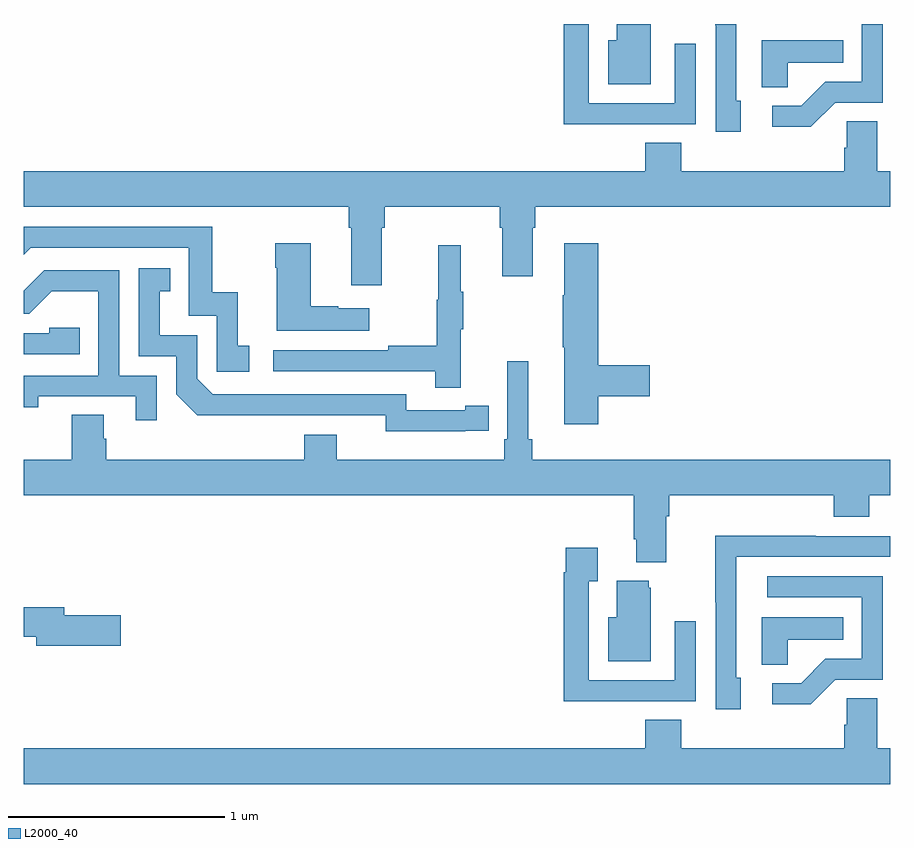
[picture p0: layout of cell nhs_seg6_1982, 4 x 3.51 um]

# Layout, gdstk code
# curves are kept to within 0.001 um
import gdstk
lib = gdstk.Library(unit=1e-6, precision=1e-09)
def P(c, l, *ps):  # polygons
    for p in ps: c.add(gdstk.Polygon(p, *l))
L2000_40 = (2000, 40)

nhs_seg6_1982 = lib.new_cell('nhs_seg6_1982')
P(nhs_seg6_1982, L2000_40, [(231.895,961.5),(231.737,961.5),(231.737,961.426),(231.698,961.426),(231.698,961.223),(231.895,961.223)],
  [(231.785,961.038),(232.101,961.038),(232.101,961.408),(232.005,961.408),(232.005,961.134),(231.609,961.134),(231.609,961.5),(231.493,961.5),(231.493,961.037),(231.785,961.037)],
  [(232.309,961.146),(232.29,961.146),(232.29,961.5),(232.192,961.5),(232.192,961.495),(232.194,961.495),(232.194,961.002),(232.309,961.002)],
  [(232.746,961.137),(232.965,961.137),(232.965,961.5),(232.869,961.5),(232.869,961.233),(232.7,961.233),(232.589,961.122),(232.455,961.122),(232.455,961.025),(232.633,961.025)],
  [(232.527,961.322),(232.784,961.322),(232.784,961.426),(232.406,961.426),(232.406,961.207),(232.527,961.207)],
  [(230.653,960.56),(230.666,960.56),(230.666,960.656),(231.197,960.656),(231.197,960.56),(231.209,960.56),(231.209,960.336),(231.349,960.336),(231.349,960.56),(231.362,960.56),(231.362,960.656),(233,960.656),(233,960.82),(232.939,960.82),(232.939,961.052),(232.8,961.052),(232.8,960.929),(232.787,960.929),(232.787,960.82),(232.034,960.82),(232.034,960.953),(231.869,960.953),(231.869,960.82),(229,960.82),(229,960.656),(230.501,960.656),(230.501,960.56),(230.513,960.56),(230.513,960.294),(230.653,960.294)],
  [(230.041,960.015),(229.988,960.015),(229.988,960.262),(229.87,960.262),(229.87,960.564),(229,960.564),(229,960.436),(229.032,960.468),(229.761,960.468),(229.761,960.153),(229.89,960.153),(229.89,959.895),(230.041,959.895)],
  [(230.596,960.187),(230.453,960.187),(230.453,960.197),(230.326,960.197),(230.326,960.487),(230.161,960.487),(230.161,960.374),(230.168,960.374),(230.168,960.083),(230.596,960.083)],
  [(231.653,959.782),(231.889,959.782),(231.889,959.924),(231.653,959.924),(231.653,960.487),(231.494,960.487),(231.494,960.248),(231.487,960.248),(231.487,960.007),(231.494,960.007),(231.494,959.652),(231.653,959.652)],
  [(231.017,960.091),(231.028,960.091),(231.028,960.265),(231.017,960.265),(231.017,960.478),(230.914,960.478),(230.914,960.228),(230.907,960.228),(230.907,960.014),(230.683,960.014),(230.683,959.994),(230.151,959.994),(230.151,959.898),(230.899,959.898),(230.899,959.82),(231.017,959.82)],
  [(231.038,959.622),(231.146,959.622),(231.146,959.738),(231.038,959.738),(231.038,959.718),(230.766,959.718),(230.766,959.79),(229.872,959.79),(229.8,959.862),(229.8,960.063),(229.627,960.063),(229.627,960.267),(229.676,960.267),(229.676,960.373),(229.53,960.373),(229.53,959.967),(229.704,959.967),(229.704,959.79),(229.802,959.693),(230.67,959.694),(230.67,959.621)],
  [(229.614,959.877),(229.44,959.877),(229.44,960.363),(229.094,960.363),(229,960.269),(229,960.162),(229.026,960.162),(229.13,960.266),(229.344,960.266),(229.344,959.877),(229,959.877),(229,959.73),(229.066,959.73),(229.066,959.781),(229.517,959.781),(229.517,959.67),(229.614,959.67)],
  [(229.259,960.099),(229.119,960.099),(229.119,960.072),(229,960.072),(229,959.976),(229.259,959.976)],
  [(231.967,959.228),(231.98,959.228),(231.98,959.324),(232.739,959.324),(232.739,959.225),(232.904,959.225),(232.904,959.324),(233,959.324),(233,959.488),(231.347,959.488),(231.347,959.584),(231.328,959.584),(231.328,959.944),(231.231,959.944),(231.231,959.584),(231.218,959.584),(231.218,959.488),(230.446,959.488),(230.446,959.605),(230.294,959.605),(230.294,959.488),(229.382,959.488),(229.382,959.586),(229.369,959.586),(229.369,959.696),(229.222,959.696),(229.222,959.488),(229,959.488),(229,959.324),(231.815,959.324),(231.815,959.122),(231.827,959.122),(231.827,959.015),(231.967,959.015)],
  [(232.309,958.482),(232.29,958.482),(232.29,959.04),(233,959.04),(233,959.136),(232.655,959.136),(232.655,959.138),(232.192,959.138),(232.192,958.831),(232.194,958.831),(232.194,958.338),(232.309,958.338)],
  [(231.785,958.374),(232.101,958.374),(232.101,958.744),(232.005,958.744),(232.005,958.47),(231.609,958.47),(231.609,958.927),(231.649,958.927),(231.649,959.083),(231.501,959.083),(231.501,958.97),(231.493,958.97),(231.493,958.373),(231.785,958.373)],
  [(232.746,958.473),(232.965,958.473),(232.965,958.95),(232.431,958.95),(232.431,958.854),(232.869,958.854),(232.869,958.569),(232.7,958.569),(232.589,958.458),(232.455,958.458),(232.455,958.361),(232.633,958.361)],
  [(231.895,958.899),(231.884,958.899),(231.884,958.93),(231.737,958.93),(231.737,958.762),(231.698,958.762),(231.698,958.559),(231.895,958.559)],
  [(229.447,958.772),(229.186,958.772),(229.186,958.808),(229,958.808),(229,958.672),(229.058,958.672),(229.058,958.63),(229.447,958.63)],
  [(232.527,958.658),(232.784,958.658),(232.784,958.762),(232.406,958.762),(232.406,958.543),(232.527,958.543)],
  [(233,958.156),(232.939,958.156),(232.939,958.388),(232.8,958.388),(232.8,958.265),(232.787,958.265),(232.787,958.156),(232.034,958.156),(232.034,958.289),(231.869,958.289),(231.869,958.156),(229,958.156),(229,957.992),(233,957.992)])

lib.write_gds('nhs_seg6_1982.gds')
